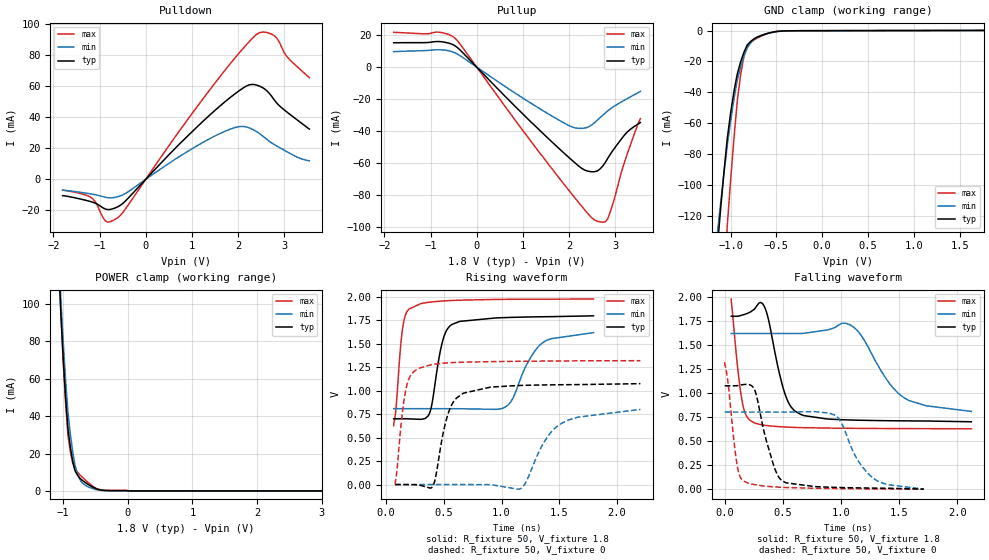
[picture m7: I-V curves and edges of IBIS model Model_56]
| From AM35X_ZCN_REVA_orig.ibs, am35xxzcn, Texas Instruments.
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| Model based on original model for BQ1833DV40DTPBFZP18LL_7LM_X50
|   Sub model LL_7LM_X50_PD_ON_1P8
[model]   Model_56
|[Description]  1.8V-I/O-PD-X
|[Input Load]   PD
|[Output Drive]
|Voltage   1.8V
|Mode   I/O
Model_type   I/O
Polarity   Non-Inverting
Enable   Active-Low
Vinl =  0.63V
Vinh =  1.17V
Cref =  15pF
Rref =  100.0000M
Vref =  0V
Vmeas =  0.9
C_comp   2.258279p   2.108893p   2.320297p
[Model Spec]
Vinl   0.63V   0.567V   0.693V
Vinh   1.17V   1.053V   1.287V
[Temperature Range]   25   125   -40
[Voltage Range]   1.8   1.62   1.98
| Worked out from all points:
|   slope of the pulldown table from 0 to 0.27 V, typ, clamps not added: 31.4 ohm
|   slope of the pullup table from 0 to 0.27 V, typ, clamps not added: 33.4 ohm
|   GND clamp passes 1 mA (typ) near -0.54 V on its own axis
|   POWER clamp passes 1 mA (typ) near -0.48 V on its own axis
|   rising waveform, R_fixture 50, V_fixture 1.8: 20-80 % time 96.2ps typ, 193ps min, 57ps max; typ from 0.7 V to 1.8 V
|   rising waveform, R_fixture 50, V_fixture 0: 20-80 % time 125ps typ, 246ps min, 77ps max; typ from 0 V to 1.07 V
|   falling waveform, R_fixture 50, V_fixture 1.8: 20-80 % time 133ps typ, 277ps min, 76.3ps max; typ from 1.8 V to 0.7 V
|   falling waveform, R_fixture 50, V_fixture 0: 20-80 % time 137ps typ, 213ps min, 71ps max; typ from 1.07 V to 0 V
[POWER_clamp]
-1.8V     842.4mA    869.3mA    912.9mA
-1.073V   123.7mA    130.9mA    129.1mA
-1.036V   94.83mA    102.9mA    96.56mA
-1V       70.85mA    79.7mA     69.66mA
-963.6mV  50.44mA    59.51mA    47.46mA
-927.3mV  33.63mA    42.34mA    29.99mA
-890.9mV  23.71mA    30.8mA     21.26mA
-818.2mV  10.87mA    13.88mA    11.68mA
-781.8mV  8.623mA    9.578mA    10.15mA
-636.4mV  3.988mA    2.612mA    5.172mA
-345.5mV  234.4uA    145uA      345.5uA
3.6V      0A         0A         0A
[Pulldown]
-1.8V     -10.49mA   -6.992mA   -6.878mA
-1.145V   -14.77mA   -9.642mA   -12.54mA
-872.7mV  -19.17mA   -11.58mA   -26.88mA
-600mV    -17.64mA   -11.15mA   -24.61mA
1.636V    48.04mA    29.95mA    67.37mA
2.073V    58.21mA    34.18mA    83.2mA
2.291V    61.28mA    32.65mA    90.41mA
2.455V    60.33mA    29.78mA    94.55mA
2.618V    57.37mA    25.94mA    94.82mA
2.782V    51.43mA    22.55mA    92.84mA
3.055V    43.59mA    17.92mA    79.47mA
3.545V    32.43mA    11.97mA    65.61mA
[Pullup]
-1.8V     15.27mA    9.71mA     21.85mA
-818.2mV  16.05mA    10.88mA    21.94mA
-490.9mV  13.72mA    9.222mA    18.66mA
1.036V    -30.46mA   -20.11mA   -41.15mA
2.018V    -57.22mA   -36.91mA   -78.08mA
2.345V    -64.63mA   -38.19mA   -89.73mA
2.618V    -65.01mA   -33.11mA   -96.69mA
2.782V    -59.96mA   -28.87mA   -97.07mA
2.836V    -57.31mA   -27.51mA   -95.25mA
3V        -50.25mA   -24.09mA   -80.86mA
3.218V    -42.03mA   -20.43mA   -58.16mA
3.545V    -34.78mA   -15.26mA   -32.29mA
[GND_clamp]
-1.8V     -697.8mA   -553.2mA   -1.259A
-1.145V   -140.7mA   -131.7mA   -248.3mA
-1.109V   -115.1mA   -111.6mA   -203.3mA
-1.036V   -69.61mA   -74.07mA   -125.9mA
-1V       -53.17mA   -58.25mA   -96.53mA
-927.3mV  -27.97mA   -31.86mA   -45.36mA
-890.9mV  -20.15mA   -23.34mA   -28.44mA
-854.5mV  -13.89mA   -16.39mA   -16.54mA
-818.2mV  -9.198mA   -11.01mA   -9.648mA
-709.1mV  -4.172mA   -4.037mA   -4.792mA
-418.2mV  -167.1uA   -231.6uA   -161.9uA
1.764V    148.6uA    81.79uA    236.4uA
[Ramp]
dV/dt_f 0.74238751/0.1411504n 0.54982223/0.2932198n 0.90104987/80.74282p
dV/dt_r 0.66814446/0.12572753n 0.50989448/0.24646681n 0.81073752/77.482881p
R_load = 50
[Rising Waveform]
R_fixture = 50
V_fixture = 1.8
V_fixture_min = 1.62
V_fixture_max = 1.98
65.38ps   700.4mV    808.1mV    626.8mV
86.67ps   700.4mV    808.1mV    826.4mV
141ps     700.4mV    808.1mV    1.645V
197.3ps   699.8mV    808.1mV    1.869V
374.1ps   752.5mV    808.1mV    1.942V
479.6ps   1.479V     808.1mV    1.954V
569ps     1.704V     808.1mV    1.961V
1.037ns   1.779V     829.2mV    1.973V
1.342ns   1.787V     1.496V     1.975V
1.797ns   1.797V     1.618V     1.976V
[Rising Waveform]
R_fixture = 50
V_fixture = 0
V_fixture_min = 0
V_fixture_max = 0
78.53ps   9.392nV    101.9nV    8.897nV
134.5ps   34.5uV     -201.1nV   696.9mV
169.3ps   26.66uV    186.7nV    1V
283.7ps   -3.355mV   1.24uV     1.239V
407.5ps   -12.38mV   -7.378uV   1.279V
538.9ps   760.3mV    -2.113uV   1.296V
669.3ps   973.2mV    32.96uV    1.303V
1.159ns   1.055V     -46.25mV   1.313V
1.494ns   1.063V     631.8mV    1.316V
2.203ns   1.075V     800.7mV    1.319V
[Falling Waveform]
R_fixture = 50
V_fixture = 1.8
V_fixture_min = 1.62
V_fixture_max = 1.98
56.19ps   1.797V     1.618V     1.976V
112.5ps   1.798V     1.618V     1.249V
152.8ps   1.81V      1.618V     895.6mV
254.9ps   1.87V      1.618V     689.4mV
345.2ps   1.887V     1.618V     664mV
516.6ps   995.8mV    1.618V     646.1mV
657.7ps   774mV      1.618V     639.6mV
1.067ns   719.4mV    1.713V     632.6mV
1.544ns   709.8mV    947.1mV    629.5mV
2.12ns    700.4mV    808.1mV    626.8mV
[Falling Waveform]
R_fixture = 50
V_fixture = 0
V_fixture_min = 0
V_fixture_max = 0
0s        1.075V     800.7mV    1.319V
29.25ps   1.074V     800.7mV    1.101V
104.6ps   1.075V     800.7mV    264.3mV
156.1ps   1.086V     800.7mV    89.95mV
258.3ps   1.029V     800.7mV    46.73mV
416ps     264.4mV    800.7mV    24.32mV
500.6ps   81.19mV    800.5mV    18.59mV
940.3ps   18.83mV    771.3mV    6.575mV
1.256ns   11.57mV    134mV      2.745mV
1.711ns   9.392nV    101.9nV    8.897nV
